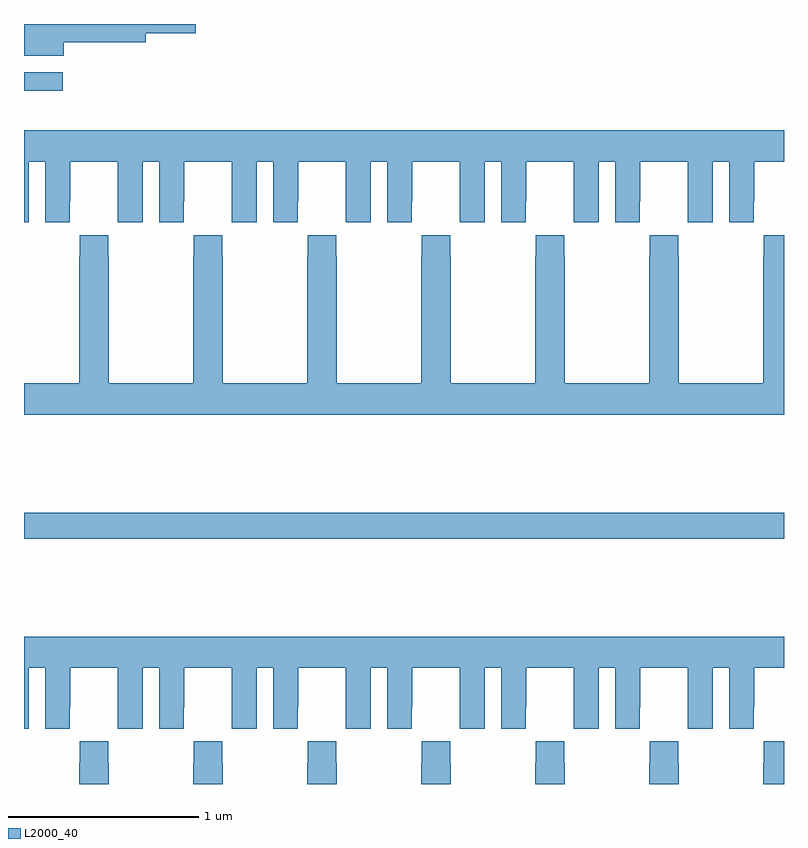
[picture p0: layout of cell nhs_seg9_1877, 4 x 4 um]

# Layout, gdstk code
import gdstk
lib = gdstk.Library(unit=1e-6, precision=1e-09)
def R(c, l, rs):  # rectangles x0, y0, x1, y1
    for r in rs: c.add(gdstk.rectangle(r[:2], r[2:], *l))
def P(c, l, *ps):  # polygons
    for p in ps: c.add(gdstk.Polygon(p, *l))
L2000_40 = (2000, 40)

nhs_seg9_1877 = lib.new_cell('nhs_seg9_1877')
R(nhs_seg9_1877, L2000_40, [(217,1171.792,221,1171.928), (217,1174.149,217.204,1174.245)])
P(nhs_seg9_1877, L2000_40, [(217.21,1174.404),(217.642,1174.404),(217.642,1174.451),(217.903,1174.451),(217.903,1174.5),(217,1174.5),(217,1174.334),(217.21,1174.334)],
  [(217.024,1173.776),(217.112,1173.776),(217.112,1173.456),(217.242,1173.456),(217.242,1173.568),(217.243,1173.568),(217.243,1173.776),(217.493,1173.776),(217.493,1173.568),(217.494,1173.568),(217.494,1173.456),(217.624,1173.456),(217.624,1173.776),(217.712,1173.776),(217.712,1173.456),(217.842,1173.456),(217.842,1173.568),(217.843,1173.568),(217.843,1173.776),(218.093,1173.776),(218.093,1173.568),(218.094,1173.568),(218.094,1173.456),(218.224,1173.456),(218.224,1173.776),(218.312,1173.776),(218.312,1173.456),(218.442,1173.456),(218.442,1173.568),(218.443,1173.568),(218.443,1173.776),(218.693,1173.776),(218.693,1173.568),(218.694,1173.568),(218.694,1173.456),(218.824,1173.456),(218.824,1173.776),(218.912,1173.776),(218.912,1173.456),(219.042,1173.456),(219.042,1173.568),(219.043,1173.568),(219.043,1173.776),(219.293,1173.776),(219.293,1173.568),(219.294,1173.568),(219.294,1173.456),(219.424,1173.456),(219.424,1173.776),(219.512,1173.776),(219.512,1173.456),(219.642,1173.456),(219.642,1173.568),(219.643,1173.568),(219.643,1173.776),(219.893,1173.776),(219.893,1173.568),(219.894,1173.568),(219.894,1173.456),(220.024,1173.456),(220.024,1173.776),(220.112,1173.776),(220.112,1173.456),(220.242,1173.456),(220.242,1173.568),(220.243,1173.568),(220.243,1173.776),(220.493,1173.776),(220.493,1173.568),(220.494,1173.568),(220.494,1173.456),(220.624,1173.456),(220.624,1173.776),(220.712,1173.776),(220.712,1173.456),(220.842,1173.456),(220.842,1173.568),(220.843,1173.568),(220.843,1173.776),(221,1173.776),(221,1173.94),(217,1173.94),(217,1173.456),(217.024,1173.456)],
  [(221,1173.388),(220.893,1173.388),(220.893,1173.275),(220.891,1173.275),(220.891,1172.608),(220.446,1172.608),(220.446,1173.275),(220.443,1173.275),(220.443,1173.388),(220.293,1173.388),(220.293,1173.275),(220.291,1173.275),(220.291,1172.608),(219.846,1172.608),(219.846,1173.275),(219.843,1173.275),(219.843,1173.388),(219.693,1173.388),(219.693,1173.275),(219.691,1173.275),(219.691,1172.608),(219.246,1172.608),(219.246,1173.275),(219.243,1173.275),(219.243,1173.388),(219.093,1173.388),(219.093,1173.275),(219.091,1173.275),(219.091,1172.608),(218.646,1172.608),(218.646,1173.275),(218.643,1173.275),(218.643,1173.388),(218.493,1173.388),(218.493,1173.275),(218.491,1173.275),(218.491,1172.608),(218.046,1172.608),(218.046,1173.275),(218.043,1173.275),(218.043,1173.388),(217.893,1173.388),(217.893,1173.275),(217.891,1173.275),(217.891,1172.608),(217.446,1172.608),(217.446,1173.275),(217.443,1173.275),(217.443,1173.388),(217.293,1173.388),(217.293,1173.275),(217.291,1173.275),(217.291,1172.608),(217,1172.608),(217,1172.444),(221,1172.444)],
  [(217.024,1171.112),(217.112,1171.112),(217.112,1170.792),(217.242,1170.792),(217.242,1170.904),(217.243,1170.904),(217.243,1171.112),(217.493,1171.112),(217.493,1170.904),(217.494,1170.904),(217.494,1170.792),(217.624,1170.792),(217.624,1171.112),(217.712,1171.112),(217.712,1170.792),(217.842,1170.792),(217.842,1170.904),(217.843,1170.904),(217.843,1171.112),(218.093,1171.112),(218.093,1170.904),(218.094,1170.904),(218.094,1170.792),(218.224,1170.792),(218.224,1171.112),(218.312,1171.112),(218.312,1170.792),(218.442,1170.792),(218.442,1170.904),(218.443,1170.904),(218.443,1171.112),(218.693,1171.112),(218.693,1170.904),(218.694,1170.904),(218.694,1170.792),(218.824,1170.792),(218.824,1171.112),(218.912,1171.112),(218.912,1170.792),(219.042,1170.792),(219.042,1170.904),(219.043,1170.904),(219.043,1171.112),(219.293,1171.112),(219.293,1170.904),(219.294,1170.904),(219.294,1170.792),(219.424,1170.792),(219.424,1171.112),(219.512,1171.112),(219.512,1170.792),(219.642,1170.792),(219.642,1170.904),(219.643,1170.904),(219.643,1171.112),(219.893,1171.112),(219.893,1170.904),(219.894,1170.904),(219.894,1170.792),(220.024,1170.792),(220.024,1171.112),(220.112,1171.112),(220.112,1170.792),(220.242,1170.792),(220.242,1170.904),(220.243,1170.904),(220.243,1171.112),(220.493,1171.112),(220.493,1170.904),(220.494,1170.904),(220.494,1170.792),(220.624,1170.792),(220.624,1171.112),(220.712,1171.112),(220.712,1170.792),(220.842,1170.792),(220.842,1170.904),(220.843,1170.904),(220.843,1171.112),(221,1171.112),(221,1171.276),(217,1171.276),(217,1170.792),(217.024,1170.792)],
  [(221,1170.724),(220.893,1170.724),(220.893,1170.611),(220.891,1170.611),(220.891,1170.5),(221,1170.5)],
  [(219.846,1170.611),(219.843,1170.611),(219.843,1170.724),(219.693,1170.724),(219.693,1170.611),(219.691,1170.611),(219.691,1170.5),(219.846,1170.5)],
  [(217.446,1170.611),(217.443,1170.611),(217.443,1170.724),(217.293,1170.724),(217.293,1170.611),(217.291,1170.611),(217.291,1170.5),(217.446,1170.5)],
  [(218.046,1170.611),(218.043,1170.611),(218.043,1170.724),(217.893,1170.724),(217.893,1170.611),(217.891,1170.611),(217.891,1170.5),(218.046,1170.5)],
  [(218.646,1170.611),(218.643,1170.611),(218.643,1170.724),(218.493,1170.724),(218.493,1170.611),(218.491,1170.611),(218.491,1170.5),(218.646,1170.5)],
  [(219.246,1170.611),(219.243,1170.611),(219.243,1170.724),(219.093,1170.724),(219.093,1170.611),(219.091,1170.611),(219.091,1170.5),(219.246,1170.5)],
  [(220.446,1170.611),(220.443,1170.611),(220.443,1170.724),(220.293,1170.724),(220.293,1170.611),(220.291,1170.611),(220.291,1170.5),(220.446,1170.5)])

lib.write_gds('nhs_seg9_1877.gds')
